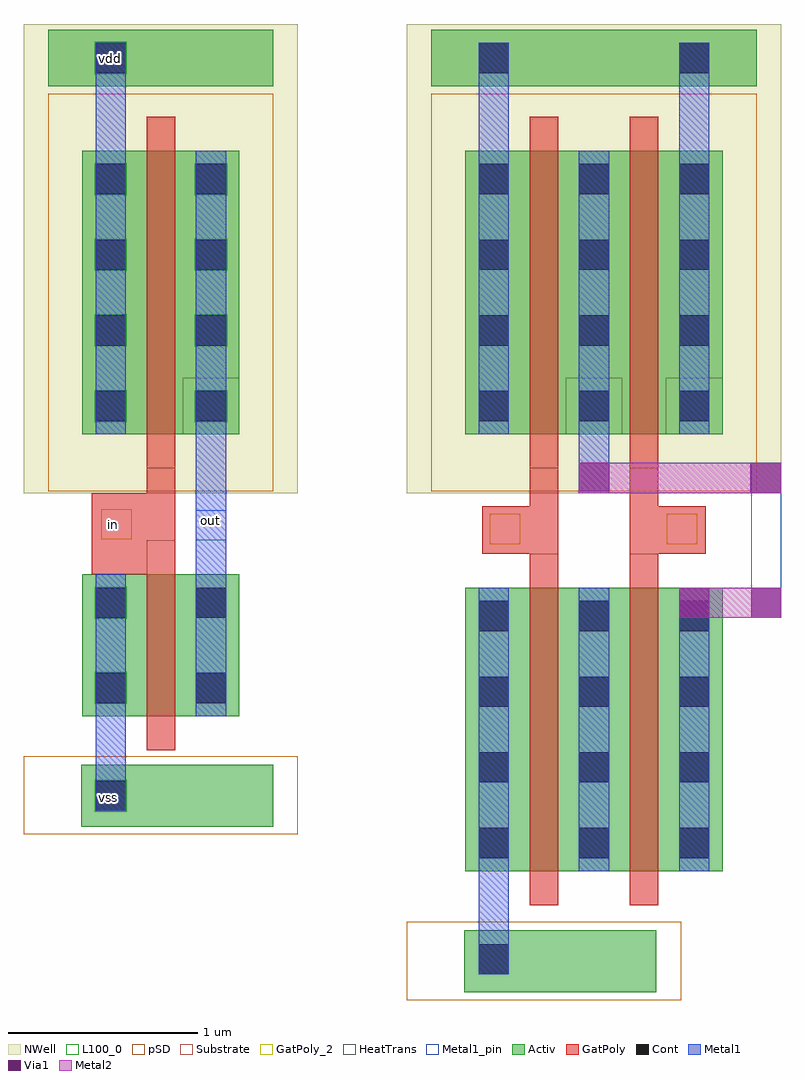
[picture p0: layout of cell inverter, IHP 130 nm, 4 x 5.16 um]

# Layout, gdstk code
import gdstk
lib = gdstk.Library(unit=1e-6, precision=5e-09)
def R(c, l, rs):  # rectangles x0, y0, x1, y1
    for r in rs: c.add(gdstk.rectangle(r[:2], r[2:], *l))
def A(c, l, x, y, w, h, nx, ny, dx, dy):  # array of equal rectangles
    R(c, l, [(x+i*dx, y+j*dy, x+i*dx+w, y+j*dy+h) for i in range(nx) for j in range(ny)])
Activ = (1, 0)
GatPoly = (5, 0)
GatPoly_2 = (5, 2)
Cont = (6, 0)
Metal1 = (8, 0)
Metal1_pin = (8, 2)
Metal2 = (10, 0)
pSD = (14, 0)
Via1 = (19, 0)
NWell = (31, 0)
Substrate = (40, 0)
HeatTrans = (51, 0)
L100_0 = (100, 0)

nmos = lib.new_cell('nmos')
R(nmos, Activ, [(0,0,0.3,0.3), (0,0,0.83,0.75), (0.53,0,0.83,0.3)])
R(nmos, GatPoly, [(0.34,-0.18,0.49,0.93)])
R(nmos, GatPoly_2, [(0.34,-0.18,0.49,0.93)])
R(nmos, Cont, [(0.07,0.07,0.23,0.23), (0.6,0.07,0.76,0.23), (0.07,0.52,0.23,0.68), (0.6,0.52,0.76,0.68)])
R(nmos, Metal1, [(0.07,0,0.23,0.75), (0.6,0,0.76,0.75)])
R(nmos, Metal1_pin, [(0.07,0,0.23,0.75), (0.6,0,0.76,0.75)])
R(nmos, HeatTrans, [(0.34,-0.18,0.49,0.93)])
nmos.add(gdstk.Label('nmos', (0.415,0.375), layer=63, texttype=0))
nmos.add(gdstk.Label('nmos', (0.415,0.375), layer=51, texttype=0))

pmos = lib.new_cell('pmos')
R(pmos, Activ, [(0,0,0.3,0.3), (0,0,0.83,1.5), (0.53,0,0.83,0.3)])
R(pmos, GatPoly, [(0.34,-0.18,0.49,1.68), (0.34,-0.18,0.49,1.68)])
A(pmos, Cont, 0.07, 0.07, 0.16, 0.16, 1, 4, 0, 0.4)
A(pmos, Cont, 0.6, 0.07, 0.16, 0.16, 1, 4, 0, 0.4)
R(pmos, Metal1, [(0.07,0,0.23,1.5), (0.07,0,0.23,1.5), (0.6,0,0.76,1.5), (0.6,0,0.76,1.5)])
R(pmos, pSD, [(-0.18,-0.3,1.01,1.8)])
R(pmos, NWell, [(-0.31,-0.31,1.14,1.81)])
R(pmos, Substrate, [(0.53,0,0.83,0.3)])
R(pmos, HeatTrans, [(0.34,-0.18,0.49,1.68)])
pmos.add(gdstk.Label('pmos', (0.415,0.75), layer=63, texttype=0))
pmos.add(gdstk.Label('pmos', (0.415,0.75), layer=51, texttype=0))

nmos_1 = lib.new_cell('nmos$1')
R(nmos_1, Activ, [(0,0,0.3,0.3), (0,0,0.83,1.5), (0.53,0,0.83,0.3)])
R(nmos_1, GatPoly, [(0.34,-0.18,0.49,1.68)])
R(nmos_1, GatPoly_2, [(0.34,-0.18,0.49,1.68)])
A(nmos_1, Cont, 0.07, 0.07, 0.16, 0.16, 1, 4, 0, 0.4)
A(nmos_1, Cont, 0.6, 0.07, 0.16, 0.16, 1, 4, 0, 0.4)
R(nmos_1, Metal1, [(0.07,0,0.23,1.5), (0.6,0,0.76,1.5)])
R(nmos_1, Metal1_pin, [(0.07,0,0.23,1.5), (0.6,0,0.76,1.5)])
R(nmos_1, HeatTrans, [(0.34,-0.18,0.49,1.68)])
nmos_1.add(gdstk.Label('nmos', (0.415,0.75), layer=63, texttype=0))
nmos_1.add(gdstk.Label('nmos', (0.415,0.75), layer=51, texttype=0))

pmos_1 = lib.new_cell('pmos$1')
R(pmos_1, Activ, [(0,0,0.3,0.3), (0,0,0.83,1.5), (0.53,0,0.83,0.3)])
R(pmos_1, GatPoly, [(0.34,-0.18,0.49,1.68), (0.34,-0.18,0.49,1.68)])
A(pmos_1, Cont, 0.07, 0.07, 0.16, 0.16, 1, 4, 0, 0.4)
A(pmos_1, Cont, 0.6, 0.07, 0.16, 0.16, 1, 4, 0, 0.4)
R(pmos_1, Metal1, [(0.07,0,0.23,1.5), (0.07,0,0.23,1.5), (0.6,0,0.76,1.5), (0.6,0,0.76,1.5)])
R(pmos_1, pSD, [(-0.18,-0.3,1.01,1.8)])
R(pmos_1, NWell, [(-0.31,-0.31,1.14,1.81)])
R(pmos_1, Substrate, [(0.53,0,0.83,0.3)])
R(pmos_1, HeatTrans, [(0.34,-0.18,0.49,1.68)])
pmos_1.add(gdstk.Label('pmos', (0.415,0.75), layer=63, texttype=0))
pmos_1.add(gdstk.Label('pmos', (0.415,0.75), layer=51, texttype=0))

inverter_1 = lib.new_cell('inverter$1')
R(inverter_1, Activ, [(-0.62,-2.585,0.395,-2.255), (-0.795,2.205,0.925,2.505)])
R(inverter_1, GatPoly, [(-0.525,-0.265,-0.275,-0.015), (-0.275,-0.265,-0.125,0.185), (0.255,-0.265,0.405,0.185), (0.405,-0.265,0.655,-0.015)])
R(inverter_1, GatPoly_2, [(-0.485,-0.215,-0.325,-0.055), (0.45,-0.215,0.61,-0.055)])
R(inverter_1, Cont, [(-0.545,-2.49,-0.385,-2.33), (-0.545,2.275,-0.385,2.435), (0.515,2.275,0.675,2.435)])
R(inverter_1, Metal1, [(-0.545,-2.49,-0.385,-1.945), (-0.015,0.055,0.145,0.365), (-0.545,1.865,-0.385,2.435), (0.515,1.865,0.675,2.435)])
R(inverter_1, Metal1_pin, [(-0.545,-2.49,-0.385,-2.33), (0.895,-0.605,1.055,0.215), (-0.545,2.275,-0.385,2.435)])
R(inverter_1, Metal2, [(0.515,-0.605,1.055,-0.445), (-0.015,0.055,1.055,0.215)])
R(inverter_1, pSD, [(-0.925,-2.625,0.525,-2.21)])
R(inverter_1, Via1, [(0.515,-0.605,0.675,-0.445), (0.895,-0.605,1.055,-0.445), (0.89,0.055,1.055,0.215), (-0.015,0.065,0.145,0.215)])
R(inverter_1, NWell, [(-0.925,2.175,1.055,2.535)])
inverter_1.add(gdstk.Reference(nmos_1, (-0.615,-1.945)))
inverter_1.add(gdstk.Reference(pmos_1, (-0.085,0.365)))
inverter_1.add(gdstk.Reference(nmos_1, (-0.085,-1.945)))
inverter_1.add(gdstk.Reference(pmos_1, (-0.615,0.365)))
inverter_1.add(gdstk.Label('vdd', (-0.465,-2.41), layer=8, texttype=2))
inverter_1.add(gdstk.Label('vdd', (-0.465,2.355), layer=8, texttype=2))

inverter = lib.new_cell('inverter')
R(inverter, Activ, [(-0.62,-1.71,0.395,-1.38), (-0.795,2.205,0.395,2.505)])
R(inverter, GatPoly, [(-0.565,-0.375,-0.275,0.055), (-0.275,-0.195,-0.125,0.185)])
R(inverter, GatPoly_2, [(-0.515,-0.19,-0.355,-0.03)])
R(inverter, Cont, [(-0.545,-1.625,-0.385,-1.465), (-0.545,-1.625,-0.385,-1.465), (-0.545,2.275,-0.385,2.435)])
R(inverter, Metal1, [(-0.545,-1.625,-0.385,-0.845), (-0.015,-0.375,0.145,0.365), (-0.545,1.865,-0.385,2.435)])
R(inverter, Metal1_pin, [(-0.015,-0.195,0.145,-0.035), (-0.545,2.275,-0.385,2.435)])
R(inverter, pSD, [(-0.925,-1.75,0.525,-1.335)])
R(inverter, NWell, [(-0.925,2.175,0.525,2.535)])
R(inverter, L100_0, [(-0.55,-1.63,-0.38,-1.46), (-0.545,-1.63,-0.38,-1.46), (-0.55,-1.06,-0.38,-0.89), (-0.55,-1.06,-0.38,-0.89), (-0.55,-0.61,-0.38,-0.44), (-0.55,-0.61,-0.38,-0.44), (-0.55,0.43,-0.38,0.6), (-0.55,0.43,-0.38,0.6), (-0.02,0.43,0.15,0.6), (-0.02,0.43,0.15,0.6), (-0.55,0.83,-0.38,1), (-0.55,0.83,-0.38,1), (-0.02,0.83,0.15,1), (-0.02,0.83,0.15,1), (-0.55,1.23,-0.38,1.4), (-0.55,1.23,-0.38,1.4), (-0.02,1.23,0.15,1.4), (-0.02,1.23,0.15,1.4), (-0.55,1.63,-0.38,1.8), (-0.55,1.63,-0.38,1.8), (-0.02,1.63,0.15,1.8), (-0.02,1.63,0.15,1.8), (-0.55,2.27,-0.38,2.44), (-0.55,2.27,-0.38,2.44)])
inverter.add(gdstk.Reference(nmos, (-0.615,-1.125)))
inverter.add(gdstk.Reference(pmos, (-0.615,0.365)))
inverter.add(gdstk.Reference(inverter_1, (2.025,0)))
inverter.add(gdstk.Label('vdd', (-0.465,2.355), layer=8, texttype=2))
inverter.add(gdstk.Label('vss', (-0.475,-1.555), layer=8, texttype=2))
inverter.add(gdstk.Label('out', (0.06,-0.09), layer=8, texttype=2))
inverter.add(gdstk.Label('in', (-0.45,-0.11), layer=5, texttype=2))

lib.write_gds('inverter.gds')
